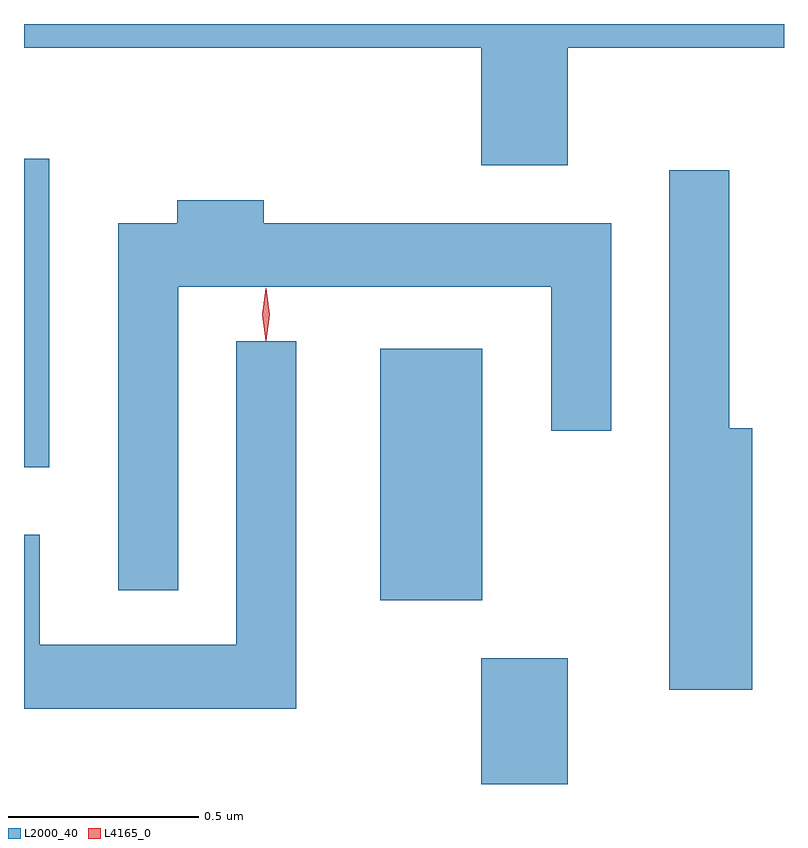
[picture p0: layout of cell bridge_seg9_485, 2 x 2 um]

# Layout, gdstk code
import gdstk
lib = gdstk.Library(unit=1e-6, precision=1e-09)
def R(c, l, rs):  # rectangles x0, y0, x1, y1
    for r in rs: c.add(gdstk.rectangle(r[:2], r[2:], *l))
def P(c, l, *ps):  # polygons
    for p in ps: c.add(gdstk.Polygon(p, *l))
L2000_40 = (2000, 40)
L4165_0 = (4165, 0)

bridge_seg9_485 = lib.new_cell('bridge_seg9_485')
R(bridge_seg9_485, L2000_40, [(580.341,1976.558,580.569,1976.889), (580.076,1977.041,580.344,1977.704), (579.138,1977.391,579.204,1978.204)])
P(bridge_seg9_485, L2000_40, [(580.569,1978.496),(581.138,1978.496),(581.138,1978.558),(579.138,1978.558),(579.138,1978.496),(580.341,1978.496),(580.341,1978.186),(580.569,1978.186)],
  [(581.054,1977.494),(580.994,1977.494),(580.994,1978.173),(580.836,1978.173),(580.836,1976.806),(581.054,1976.806)],
  [(579.544,1977.866),(580.526,1977.866),(580.526,1977.488),(580.684,1977.488),(580.684,1978.034),(579.769,1978.034),(579.769,1978.094),(579.541,1978.094),(579.541,1978.034),(579.386,1978.034),(579.386,1977.068),(579.544,1977.068)],
  [(579.854,1977.723),(579.696,1977.723),(579.696,1976.924),(579.179,1976.924),(579.179,1977.214),(579.138,1977.214),(579.138,1976.756),(579.854,1976.756)])
P(bridge_seg9_485, L4165_0, [(579.774,1977.727),(579.765,1977.794),(579.774,1977.86),(579.775,1977.861),(579.775,1977.86),(579.785,1977.794),(579.775,1977.727),(579.775,1977.727)],
  [(579.774,1977.724),(579.765,1977.793),(579.774,1977.863),(579.775,1977.863),(579.775,1977.863),(579.785,1977.793),(579.775,1977.724),(579.775,1977.724)])

lib.write_gds('bridge_seg9_485.gds')
